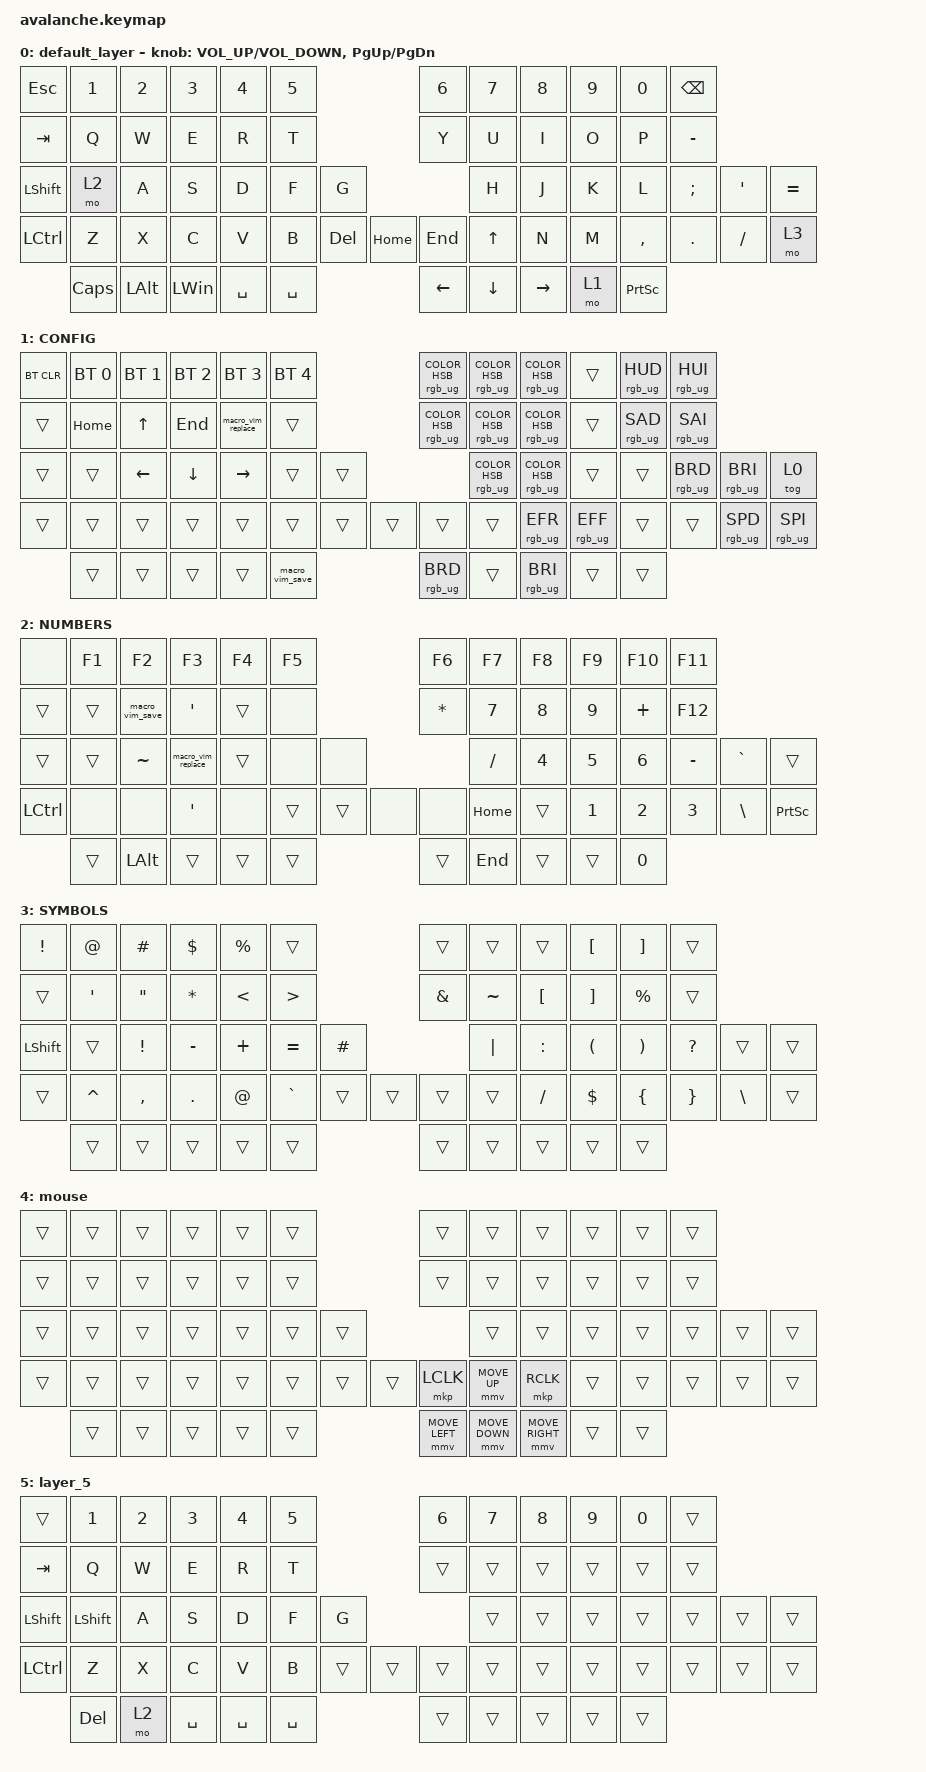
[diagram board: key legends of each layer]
#include <behaviors.dtsi>
#include <dt-bindings/zmk/bt.h>
#include <dt-bindings/zmk/keys.h>
#include <dt-bindings/zmk/pointing.h>
#include <dt-bindings/zmk/rgb.h>

&lt {
    tapping-term-ms = <400>;
    quick-tap-ms = <100>;
};

/ {
    behaviors {
        bhm: balanced_homerow_mods {
            compatible = "zmk,behavior-hold-tap";
            #binding-cells = <2>;
            tapping-term-ms = <200>;

            // <---[[moderate duration]]

            quick-tap-ms = <0>;
            flavor = "balanced";
            bindings = <&kp>, <&kp>;
        };

        hm: homerow_mods {
            compatible = "zmk,behavior-hold-tap";
            #binding-cells = <2>;
            tapping-term-ms = <250>;
            flavor = "tap-preferred";
            bindings = <&kp>, <&kp>;
        };

        scroll: scroll {
            compatible = "zmk,behavior-sensor-rotate";
            label = "SCROLL";
            #sensor-binding-cells = <0>;
            bindings = <&kp K_SCROLL_UP>, <&kp K_SCROLL_DOWN>;
        };
    };

    macros {
        macro_vim_save: vim_save {
            compatible = "zmk,behavior-macro";
            #binding-cells = <0>;
            wait-ms = <0>;
            tap-ms = <5>;
            bindings = <&kp ESCAPE &kp COLON &kp W &kp Q &kp EXCLAMATION &kp ENTER>;
            label = "VIM_SAVE";
        };

        macro_previous_folder: macro_previous_folder {
            compatible = "zmk,behavior-macro";
            #binding-cells = <0>;
            wait-ms = <0>;
            tap-ms = <5>;
            bindings = <&kp DOT &kp DOT &kp FSLH>;
            label = "MACRO_PREVIOUS_FOLDER";
        };

        macro_vim_replace: replace {
            compatible = "zmk,behavior-macro";
            #binding-cells = <0>;
            bindings = <&kp ESC &kp COLON &kp PERCENT &kp S &kp SLASH>;
            label = "REPLACE";
        };

        macro_paste: paste {
            compatible = "zmk,behavior-macro";
            #binding-cells = <0>;
            bindings = <&kp LEFT_GUI &kp V>;
            label = "PASTE";
        };

        workspaceLeft: workspaceLeft {
            compatible = "zmk,behavior-macro";
            #binding-cells = <0>;
            bindings = <&kp LEFT_CONTROL &kp LEFT_ALT &kp LEFT_ARROW>;
            label = "WORKSPACELEFT";
        };

        workspaceRight: workspaceRight {
            compatible = "zmk,behavior-macro";
            #binding-cells = <0>;
            bindings = <&kp LEFT_CONTROL &kp LEFT_ALT &kp RIGHT_ARROW>;
            label = "WORKSPACERIGHT";
        };
    };

    combos {
        compatible = "zmk,combos";

        layer1 {
            bindings = <&tog 1>;
            key-positions = <1 47>;
        };

        layer2 {
            bindings = <&tog 2>;
            key-positions = <2 47>;
        };

        layer3 {
            bindings = <&tog 3>;
            key-positions = <3 47>;
        };

        layer4 {
            bindings = <&tog 4>;
            key-positions = <4 47>;
        };

        enter {
            bindings = <&kp ENTER>;
            key-positions = <38 58>;
        };

        shiftEnter {
            bindings = <&kp LS(ENTER)>;
            key-positions = <58 24>;
        };

        enter2 {
            bindings = <&kp ENTER>;
            key-positions = <59 46>;
        };

        ShiftEnter2 {
            bindings = <&kp LS(ENTER)>;
            key-positions = <58 45>;
        };

        mouse {
            bindings = <&mo 4>;
            key-positions = <24 25>;
        };

        enter3 {
            bindings = <&kp ENTER>;
            key-positions = <45 44>;
        };

        gamer {
            bindings = <&tog 5>;
            key-positions = <47 5>;
        };
    };

    keymap {
        compatible = "zmk,keymap";

        default_layer {
            // ---------------------------------------------------------------------------------------------------------------------------------------------
            //            |  `  |  1  |  2  |  3  |  4  |  5  |                                             |  6  |  7  |  8  |  9  |  0  |  '  |
            //            | TAB |  Q  |  W  |  E  |  R  |  T  |                                             |  Y  |  U  |  I  |  O  |  P  |  [  | 
            //    |  ESC  |CTRL |  A  |  S  |  D  |  F  |  G  |                                             |  H  |  J  |  K  |  L  |  ;  |  '  |  \   |
            //            |SHIFT|  Z  |  X  |  C  |  V  |  B  |  DEL  |                              | BSPC |  N  |  M  |  ,  |  .  |  /  |  -  |
            //                        | GUI | ALT |SPACE|RAISE| ENTER |                              | ENTER|  =  |SPACE|MO(1)|MO(2)|
            // ---------------------------------------------------------------------------------------------------------------------------------------------

            bindings = <
&kp ESCAPE        &kp N1        &kp N2        &kp N3        &kp N4     &kp N5                           &kp N6          &kp N7          &kp N8           &kp N9  &kp N0           &kp BACKSPACE
&kp TAB           &kp Q         &kp W         &kp E         &kp R      &kp T                            &kp Y           &kp U           &kp I            &kp O   &kp P            &kp MINUS
&kp LEFT_SHIFT    &mo 2         &kp A         &kp S         &kp D      &kp F      &kp G                                 &kp H           &kp J            &kp K   &kp L            &kp SEMICOLON  &kp SINGLE_QUOTE  &kp EQUAL
&kp LEFT_CONTROL  &kp Z         &kp X         &kp C         &kp V      &kp B      &kp DELETE  &kp HOME  &kp END         &kp UP_ARROW    &kp N            &kp M   &kp COMMA        &kp PERIOD     &kp SLASH         &mo 3
                  &kp CAPSLOCK  &kp LEFT_ALT  &kp LEFT_WIN  &kp SPACE  &kp SPACE                        &kp LEFT_ARROW  &kp DOWN_ARROW  &kp RIGHT_ARROW  &mo 1   &kp PRINTSCREEN
            >;

            sensor-bindings =
                <&inc_dec_kp C_VOLUME_UP C_VOLUME_DOWN>,
                <&inc_dec_kp PG_UP PAGE_DOWN>;
        };

        CONFIG {
            bindings = <
&bt BT_CLR  &bt BT_SEL 0  &bt BT_SEL 1    &bt BT_SEL 2    &bt BT_SEL 3        &bt BT_SEL 4                     &rgb_ug RGB_COLOR_HSB(308,100,50)  &rgb_ug RGB_COLOR_HSB(334,100,50)  &rgb_ug RGB_COLOR_HSB(121,100,48)  &trans           &rgb_ug RGB_HUD  &rgb_ug RGB_HUI
&trans      &kp HOME      &kp UP_ARROW    &kp END         &macro_vim_replace  &trans                           &rgb_ug RGB_COLOR_HSB(0,100,50)    &rgb_ug RGB_COLOR_HSB(182,100,50)  &rgb_ug RGB_COLOR_HSB(251,100,49)  &trans           &rgb_ug RGB_SAD  &rgb_ug RGB_SAI
&trans      &trans        &kp LEFT_ARROW  &kp DOWN_ARROW  &kp RIGHT           &trans           &trans                                             &rgb_ug RGB_COLOR_HSB(62,100,50)   &rgb_ug RGB_COLOR_HSB(278,100,43)  &trans           &trans           &rgb_ug RGB_BRD  &rgb_ug RGB_BRI  &tog 0
&trans      &trans        &trans          &trans          &trans              &trans           &trans  &trans  &trans                             &trans                             &rgb_ug RGB_EFR                    &rgb_ug RGB_EFF  &trans           &trans           &rgb_ug RGB_SPD  &rgb_ug RGB_SPI
            &trans        &trans          &trans          &trans              &macro_vim_save                  &rgb_ug RGB_BRD                    &trans                             &rgb_ug RGB_BRI                    &trans           &trans
            >;
        };

        NUMBERS {
            // ---------------------------------------------------------------------------------------------------------------------------------------------
            //            |     |     |     |     |     |     |                                          |     |     |     |     |     |     |
            //            |     | HOME|  UP | END |     |     |                                          |     |HOME |     |END  |     |     |
            //       |    |     | LEFT| DOWN|RIGHT|     |     |                                          |SCLUP|LEFT |  UP |  A  |PG_UP|     |    |
            //            |     |     |     |     |     |     |     |                              |     |SCLDN|LEFT | DOWN|RIGHT|PG_DN|     |
            //                        |     |     |     |     |     |                              |     |     |     |     |     |
            // ---------------------------------------------------------------------------------------------------------------------------------------------

            bindings = <
&none             &kp F1  &kp F2           &kp F3              &kp F4  &kp F5                 &kp F6        &kp F7     &kp F8        &kp F9        &kp F10       &kp F11
&trans            &trans  &macro_vim_save  &kp SINGLE_QUOTE    &trans  &none                  &kp ASTERISK  &kp N7     &kp N8        &kp N9        &kp PLUS      &kp F12
&trans            &trans  &kp TILDE        &macro_vim_replace  &trans  &none   &none                        &kp SLASH  &kp NUMBER_4  &kp N5        &kp NUMBER_6  &kp MINUS     &kp GRAVE      &trans
&kp LEFT_CONTROL  &none   &none            &kp SINGLE_QUOTE    &none   &trans  &trans  &none  &none         &kp HOME   &trans        &kp NUMBER_1  &kp NUMBER_2  &kp NUMBER_3  &kp BACKSLASH  &kp PRINTSCREEN
                  &trans  &kp LEFT_ALT     &trans              &trans  &trans                 &trans        &kp END    &trans        &trans        &kp NUMBER_0
            >;
        };

        SYMBOLS {
            bindings = <
&kp EXCLAMATION  &kp AT_SIGN  &kp HASH           &kp DOLLAR  &kp PERCENT    &trans                              &trans         &trans     &trans            &kp LEFT_BRACKET      &kp RIGHT_BRACKET      &trans
&trans           &kp APOS     &kp DOUBLE_QUOTES  &kp ASTRK   &kp LESS_THAN  &kp GREATER_THAN                    &kp AMPERSAND  &kp TILDE  &kp LEFT_BRACKET  &kp RIGHT_BRACKET     &kp PERCENT            &trans
&kp LEFT_SHIFT   &trans       &kp EXCLAMATION    &kp MINUS   &kp PLUS       &kp EQUAL         &kp HASH                         &kp PIPE   &kp COLON         &kp LEFT_PARENTHESIS  &kp RIGHT_PARENTHESIS  &kp QUESTION     &trans         &trans
&trans           &kp CARET    &kp COMMA          &kp PERIOD  &kp AT         &kp GRAVE         &trans    &trans  &trans         &trans     &kp SLASH         &kp DOLLAR            &kp LEFT_BRACE         &kp RIGHT_BRACE  &kp BACKSLASH  &trans
                 &trans       &trans             &trans      &trans         &trans                              &trans         &trans     &trans            &trans                &trans
            >;
        };

        mouse {
            bindings = <
&trans  &trans  &trans  &trans  &trans  &trans                  &trans          &trans          &trans           &trans  &trans  &trans
&trans  &trans  &trans  &trans  &trans  &trans                  &trans          &trans          &trans           &trans  &trans  &trans
&trans  &trans  &trans  &trans  &trans  &trans  &trans                          &trans          &trans           &trans  &trans  &trans  &trans  &trans
&trans  &trans  &trans  &trans  &trans  &trans  &trans  &trans  &mkp LCLK       &mmv MOVE_UP    &mkp RCLK        &trans  &trans  &trans  &trans  &trans
        &trans  &trans  &trans  &trans  &trans                  &mmv MOVE_LEFT  &mmv MOVE_DOWN  &mmv MOVE_RIGHT  &trans  &trans
            >;
        };

        layer_5 {
            bindings = <
&trans     &kp N1     &kp N2  &kp N3     &kp N4     &kp N5                     &kp N6  &kp N7  &kp N8  &kp N9  &kp N0  &trans
&kp TAB    &kp Q      &kp W   &kp E      &kp R      &kp T                      &trans  &trans  &trans  &trans  &trans  &trans
&kp LSHFT  &kp LSHFT  &kp A   &kp S      &kp D      &kp F      &kp G                   &trans  &trans  &trans  &trans  &trans  &trans  &trans
&kp LCTRL  &kp Z      &kp X   &kp C      &kp V      &kp B      &trans  &trans  &trans  &trans  &trans  &trans  &trans  &trans  &trans  &trans
           &kp DEL    &mo 2   &kp SPACE  &kp SPACE  &kp SPACE                  &trans  &trans  &trans  &trans  &trans
            >;
        };
    };
};
